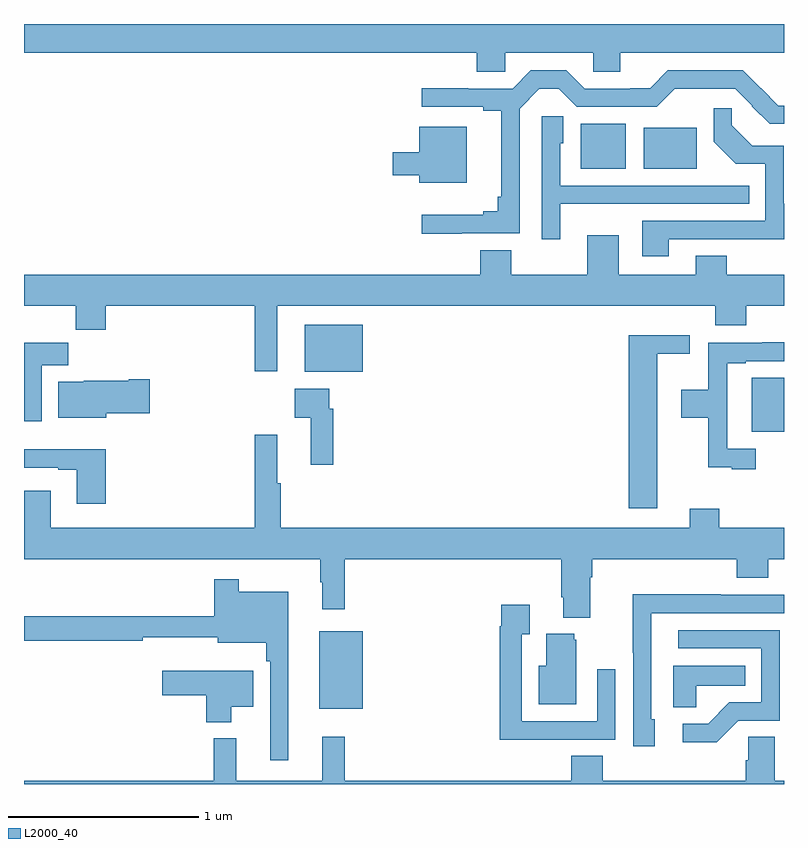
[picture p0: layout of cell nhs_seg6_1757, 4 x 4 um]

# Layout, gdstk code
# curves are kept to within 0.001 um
import gdstk
lib = gdstk.Library(unit=1e-6, precision=1e-09)
def R(c, l, rs):  # rectangles x0, y0, x1, y1
    for r in rs: c.add(gdstk.rectangle(r[:2], r[2:], *l))
def P(c, l, *ps):  # polygons
    for p in ps: c.add(gdstk.Polygon(p, *l))
L2000_40 = (2000, 40)

nhs_seg6_1757 = lib.new_cell('nhs_seg6_1757')
R(nhs_seg6_1757, L2000_40, [(218.555,931.895,218.782,932.305), (220.829,933.353,221,933.637), (218.477,933.671,218.782,933.916), (219.929,934.739,220.168,934.975), (220.262,934.739,220.54,934.954)])
P(nhs_seg6_1757, L2000_40, [(217,935.348),(219.383,935.348),(219.383,935.25),(219.534,935.25),(219.534,935.348),(219.996,935.348),(219.996,935.25),(220.138,935.25),(220.138,935.348),(221,935.348),(221,935.5),(217,935.5)],
  [(219.305,934.398),(219.609,934.398),(219.609,935.055),(219.713,935.159),(219.814,935.159),(219.909,935.064),(220.329,935.064),(220.424,935.159),(220.743,935.16),(220.833,935.07),(220.831,935.068),(220.925,934.974),(221,934.974),(221,935.07),(220.971,935.07),(220.783,935.256),(220.389,935.256),(220.295,935.162),(220.19,935.162),(220.19,935.16),(219.951,935.16),(219.855,935.256),(219.668,935.256),(219.572,935.16),(219.339,935.16),(219.339,935.162),(219.093,935.162),(219.093,935.064),(219.416,935.064),(219.416,935.044),(219.512,935.044),(219.512,934.591),(219.493,934.591),(219.493,934.514),(219.416,934.514),(219.416,934.495),(219.093,934.495),(219.093,934.397)],
  [(220.393,934.368),(221,934.367),(221,934.554),(220.998,934.554),(220.998,934.86),(220.832,934.86),(220.724,934.968),(220.724,935.056),(220.629,935.056),(220.629,934.88),(220.745,934.764),(220.902,934.764),(220.902,934.464),(220.253,934.464),(220.253,934.278),(220.393,934.278)],
  [(219.823,934.553),(220.157,934.553),(220.157,934.554),(220.817,934.554),(220.817,934.65),(219.822,934.65),(219.822,934.872),(219.838,934.872),(219.838,935.015),(219.726,935.015),(219.726,934.368),(219.823,934.368)],
  [(219.331,934.96),(219.08,934.96),(219.08,934.825),(218.94,934.825),(218.94,934.703),(219.08,934.703),(219.08,934.664),(219.331,934.664)],
  [(218.332,934.016),(220.637,934.016),(220.637,933.914),(220.802,933.914),(220.802,934.016),(221,934.016),(221,934.18),(220.699,934.18),(220.699,934.279),(220.535,934.279),(220.535,934.18),(220.129,934.18),(220.129,934.387),(219.965,934.387),(219.965,934.18),(219.565,934.18),(219.565,934.309),(219.401,934.309),(219.401,934.18),(217,934.18),(217,934.016),(217.273,934.016),(217.273,933.892),(217.43,933.892),(217.43,934.016),(218.215,934.016),(218.215,933.672),(218.332,933.672)],
  [(220.333,933.764),(220.504,933.764),(220.504,933.862),(220.184,933.862),(220.184,932.952),(220.333,932.952)],
  [(220.852,933.264),(220.701,933.264),(220.701,933.714),(220.798,933.714),(220.798,933.726),(221,933.726),(221,933.824),(220.885,933.824),(220.885,933.822),(220.6,933.822),(220.6,933.574),(220.458,933.574),(220.458,933.427),(220.6,933.427),(220.6,933.167),(220.724,933.167),(220.724,933.156),(220.852,933.156)],
  [(217.093,933.704),(217.232,933.704),(217.232,933.823),(217,933.823),(217,933.408),(217.093,933.408)],
  [(217.432,933.452),(217.663,933.452),(217.663,933.63),(217.55,933.63),(217.55,933.622),(217.314,933.622),(217.314,933.616),(217.181,933.616),(217.181,933.428),(217.432,933.428)],
  [(218.627,933.476),(218.607,933.476),(218.607,933.58),(218.424,933.58),(218.424,933.428),(218.51,933.428),(218.51,933.18),(218.627,933.18)],
  [(218.351,933.084),(218.333,933.084),(218.333,933.337),(218.215,933.337),(218.215,932.848),(217.141,932.848),(217.141,933.043),(217.001,933.043),(217.001,932.848),(217,932.848),(217,932.684),(218.559,932.684),(218.559,932.561),(218.57,932.561),(218.57,932.421),(218.687,932.421),(218.687,932.684),(219.827,932.684),(219.827,932.482),(219.839,932.482),(219.839,932.375),(219.979,932.375),(219.979,932.588),(219.992,932.588),(219.992,932.684),(220.751,932.684),(220.751,932.585),(220.916,932.585),(220.916,932.684),(221,932.684),(221,932.848),(220.658,932.848),(220.658,932.95),(220.505,932.95),(220.505,932.848),(218.351,932.848)],
  [(217.43,933.262),(217,933.262),(217,933.165),(217.181,933.165),(217.181,933.153),(217.277,933.153),(217.277,932.976),(217.43,932.976)],
  [(218.392,932.512),(218.131,932.512),(218.131,932.578),(218.002,932.578),(218.002,932.383),(217,932.383),(217,932.254),(217.625,932.254),(217.625,932.273),(218.021,932.273),(218.021,932.243),(218.275,932.243),(218.275,932.147),(218.295,932.147),(218.295,931.626),(218.392,931.626)],
  [(220.321,931.842),(220.302,931.842),(220.302,932.4),(221,932.4),(221,932.496),(220.667,932.496),(220.667,932.498),(220.204,932.498),(220.204,932.191),(220.206,932.191),(220.206,931.698),(220.321,931.698)],
  [(219.797,931.734),(220.113,931.734),(220.113,932.104),(220.017,932.104),(220.017,931.83),(219.621,931.83),(219.621,932.287),(219.661,932.287),(219.661,932.443),(219.513,932.443),(219.513,932.33),(219.505,932.33),(219.505,931.733),(219.797,931.733)],
  [(220.758,931.833),(220.977,931.833),(220.977,932.31),(220.443,932.31),(220.443,932.214),(220.881,932.214),(220.881,931.929),(220.712,931.929),(220.601,931.818),(220.467,931.818),(220.467,931.721),(220.645,931.721)],
  [(219.907,932.259),(219.896,932.259),(219.896,932.29),(219.749,932.29),(219.749,932.122),(219.71,932.122),(219.71,931.919),(219.907,931.919)],
  [(220.539,932.018),(220.796,932.018),(220.796,932.122),(220.418,932.122),(220.418,931.903),(220.539,931.903)],
  [(218.092,931.907),(218.206,931.907),(218.206,932.095),(217.728,932.095),(217.728,931.966),(217.958,931.966),(217.958,931.826),(218.092,931.826)],
  [(221,931.516),(220.951,931.516),(220.951,931.748),(220.812,931.748),(220.812,931.625),(220.799,931.625),(220.799,931.516),(220.046,931.516),(220.046,931.649),(219.881,931.649),(219.881,931.516),(218.687,931.516),(218.687,931.75),(218.57,931.75),(218.57,931.516),(218.117,931.516),(218.117,931.741),(217.999,931.741),(217.999,931.516),(217,931.516),(217,931.5),(221,931.5)])

lib.write_gds('nhs_seg6_1757.gds')
